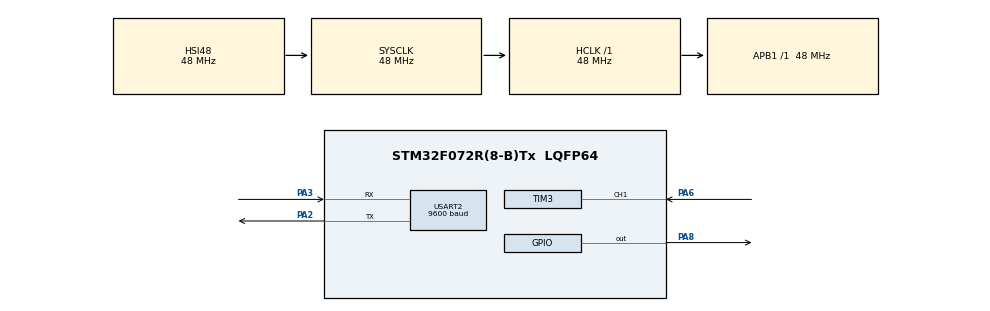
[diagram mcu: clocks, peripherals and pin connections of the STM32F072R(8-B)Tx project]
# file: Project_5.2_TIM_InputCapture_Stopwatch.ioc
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Mcu.Family=STM32F0
Mcu.Name=STM32F072R(8-B)Tx
Mcu.Package=LQFP64
NVIC.TIM3_IRQn=true\:0\:0\:false\:false\:true\:true\:true\:true
PA2.Mode=Asynchronous
PA2.Signal=USART2_TX
PA3.Mode=Asynchronous
PA3.Signal=USART2_RX
PA6.Signal=S_TIM3_CH1
PA8.Signal=GPIO_Output
PF0-OSC_IN.Mode=HSE-External-Oscillator
PF0-OSC_IN.Signal=RCC_OSC_IN
PF1-OSC_OUT.Mode=HSE-External-Oscillator
PF1-OSC_OUT.Signal=RCC_OSC_OUT
ProjectManager.HeapSize=0x200
ProjectManager.StackSize=0x400
ProjectManager.TargetToolchain=STM32CubeIDE
RCC.AHBFreq_Value=48000000
RCC.APB1Freq_Value=48000000
RCC.APB1TimFreq_Value=48000000
RCC.HCLKFreq_Value=48000000
RCC.SYSCLKFreq_VALUE=48000000
RCC.SYSCLKSource=RCC_SYSCLKSOURCE_HSI48
SH.S_TIM3_CH1.0=TIM3_CH1,Input_Capture1_from_TI1
TIM3.AutoReloadPreload=TIM_AUTORELOAD_PRELOAD_ENABLE
TIM3.Channel-Input_Capture1_from_TI1=TIM_CHANNEL_1
TIM3.ICFilter_CH1=15
TIM3.Period=48000
TIM3.Prescaler=1000
USART2.BaudRate=9600
USART2.VirtualMode-Asynchronous=VM_ASYNC
VP_TIM3_VS_ClockSourceINT.Mode=Internal
board=custom

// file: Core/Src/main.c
/* USER CODE BEGIN Header */
/**
  ******************************************************************************
  * @file           : main.c
  * @brief          : Main program body
  ******************************************************************************
  * @attention
  *
  * Copyright (c) 2023 STMicroelectronics.
  * All rights reserved.
  *
  * This software is licensed under terms that can be found in the LICENSE file
  * in the root directory of this software component.
  * If no LICENSE file comes with this software, it is provided AS-IS.
  *
  ******************************************************************************
  */
/* USER CODE END Header */
#include "main.h"

/* USER CODE BEGIN PD */
#define IDLE   0
#define DONE   1

volatile uint8_t State = IDLE;
volatile uint8_t MSG[100] = {'\0'};
volatile uint8_t i_MSG[50] = {'\0'};
volatile uint8_t msg[100] = {"Stopwatch started\n\n\n"};
volatile uint32_t first_cptr_vrbl = 0;
volatile uint32_t last_cptr_vrbl = 0;
volatile uint32_t total_second = 0;
volatile uint16_t overflow = 0;
volatile uint8_t ticks = IDLE;
volatile uint8_t flag = IDLE;
volatile uint8_t second = 0;
volatile uint8_t minute = 0;
volatile uint8_t hours = 0;
/* USER CODE END PD */

TIM_HandleTypeDef htim3;

UART_HandleTypeDef huart2;

void SystemClock_Config(void);
static void MX_GPIO_Init(void);
static void MX_TIM3_Init(void);
static void MX_USART2_UART_Init(void);

/* USER CODE BEGIN 0 */
void instantClock(void){
	last_cptr_vrbl = TIM3->CCR1;
	total_second = ((last_cptr_vrbl + (overflow * 48000)) - first_cptr_vrbl) / 48000;

	minute = (total_second/60);
	hours  = minute / 60;

	second = total_second - minute*60;
	minute = minute - hours*60;

}

void HAL_TIM_IC_CaptureCallback(TIM_HandleTypeDef *htim) {

	HAL_GPIO_TogglePin(GPIOA, GPIO_PIN_8);

	switch (ticks){
	case IDLE:
		HAL_UART_Transmit(&huart2, msg, sizeof(msg), 100);
		first_cptr_vrbl = TIM3->CCR1;
		overflow = 0;
		ticks = DONE;
		flag=DONE;
		break;
	case DONE:
		flag = IDLE;
		instantClock();
		if (total_second != 0) {

			sprintf(MSG, "Stopwatch ended\n\Passing time = %lu:%lu:%lu\n\n\n\r", hours,minute,second);
			HAL_UART_Transmit(&huart2, MSG, sizeof(MSG), 100);
		}
		first_cptr_vrbl = 0;
		last_cptr_vrbl = 0;
		ticks = IDLE;
		break;

	}

}

void HAL_TIM_PeriodElapsedCallback(TIM_HandleTypeDef *htim) {

	instantClock();
	 if(flag == DONE){
				sprintf(i_MSG, "*** %lu:%lu:%lu ***\n\r", hours,minute,second);
				HAL_UART_Transmit(&huart2, i_MSG, sizeof(i_MSG), 100);}
	 overflow++;
}

/* USER CODE END 0 */

int main(void)
{

  /* MCU Configuration--------------------------------------------------------*/

  /* Reset of all peripherals, Initializes the Flash interface and the Systick. */
  HAL_Init();

  /* Configure the system clock */
  SystemClock_Config();

  /* Initialize all configured peripherals */
  MX_GPIO_Init();
  MX_TIM3_Init();
  MX_USART2_UART_Init();
  /* USER CODE BEGIN 2 */
  HAL_TIM_Base_Start_IT(&htim3);
  HAL_TIM_IC_Start_IT(&htim3, TIM_CHANNEL_1);
  HAL_GPIO_WritePin(GPIOA, GPIO_PIN_8, GPIO_PIN_SET);
  /* USER CODE END 2 */

  /* Infinite loop */
  while (1)
  {

  }
}

void SystemClock_Config(void)
{
  RCC_OscInitTypeDef RCC_OscInitStruct = {0};
  RCC_ClkInitTypeDef RCC_ClkInitStruct = {0};
  RCC_PeriphCLKInitTypeDef PeriphClkInit = {0};

  /** Initializes the RCC Oscillators according to the specified parameters
  * in the RCC_OscInitTypeDef structure.
  */
  RCC_OscInitStruct.OscillatorType = RCC_OSCILLATORTYPE_HSI48;
  RCC_OscInitStruct.HSI48State = RCC_HSI48_ON;
  RCC_OscInitStruct.PLL.PLLState = RCC_PLL_NONE;
  if (HAL_RCC_OscConfig(&RCC_OscInitStruct) != HAL_OK)
  {
    Error_Handler();
  }

  /** Initializes the CPU, AHB and APB buses clocks
  */
  RCC_ClkInitStruct.ClockType = RCC_CLOCKTYPE_HCLK|RCC_CLOCKTYPE_SYSCLK
                              |RCC_CLOCKTYPE_PCLK1;
  RCC_ClkInitStruct.SYSCLKSource = RCC_SYSCLKSOURCE_HSI48;
  RCC_ClkInitStruct.AHBCLKDivider = RCC_SYSCLK_DIV1;
  RCC_ClkInitStruct.APB1CLKDivider = RCC_HCLK_DIV1;

  if (HAL_RCC_ClockConfig(&RCC_ClkInitStruct, FLASH_LATENCY_1) != HAL_OK)
  {
    Error_Handler();
  }
  PeriphClkInit.PeriphClockSelection = RCC_PERIPHCLK_USART2;
  PeriphClkInit.Usart2ClockSelection = RCC_USART2CLKSOURCE_PCLK1;
  if (HAL_RCCEx_PeriphCLKConfig(&PeriphClkInit) != HAL_OK)
  {
    Error_Handler();
  }
}

static void MX_TIM3_Init(void)
{

  TIM_ClockConfigTypeDef sClockSourceConfig = {0};
  TIM_MasterConfigTypeDef sMasterConfig = {0};
  TIM_IC_InitTypeDef sConfigIC = {0};

  htim3.Instance = TIM3;
  htim3.Init.Prescaler = 1000;
  htim3.Init.CounterMode = TIM_COUNTERMODE_UP;
  htim3.Init.Period = 48000;
  htim3.Init.ClockDivision = TIM_CLOCKDIVISION_DIV1;
  htim3.Init.AutoReloadPreload = TIM_AUTORELOAD_PRELOAD_ENABLE;
  if (HAL_TIM_Base_Init(&htim3) != HAL_OK)
  {
    Error_Handler();
  }
  sClockSourceConfig.ClockSource = TIM_CLOCKSOURCE_INTERNAL;
  if (HAL_TIM_ConfigClockSource(&htim3, &sClockSourceConfig) != HAL_OK)
  {
    Error_Handler();
  }
  if (HAL_TIM_IC_Init(&htim3) != HAL_OK)
  {
    Error_Handler();
  }
  sMasterConfig.MasterOutputTrigger = TIM_TRGO_RESET;
  sMasterConfig.MasterSlaveMode = TIM_MASTERSLAVEMODE_DISABLE;
  if (HAL_TIMEx_MasterConfigSynchronization(&htim3, &sMasterConfig) != HAL_OK)
  {
    Error_Handler();
  }
  sConfigIC.ICPolarity = TIM_INPUTCHANNELPOLARITY_RISING;
  sConfigIC.ICSelection = TIM_ICSELECTION_DIRECTTI;
  sConfigIC.ICPrescaler = TIM_ICPSC_DIV1;
  sConfigIC.ICFilter = 15;
  if (HAL_TIM_IC_ConfigChannel(&htim3, &sConfigIC, TIM_CHANNEL_1) != HAL_OK)
  {
    Error_Handler();
  }

}

static void MX_USART2_UART_Init(void)
{

  huart2.Instance = USART2;
  huart2.Init.BaudRate = 9600;
  huart2.Init.WordLength = UART_WORDLENGTH_8B;
  huart2.Init.StopBits = UART_STOPBITS_1;
  huart2.Init.Parity = UART_PARITY_NONE;
  huart2.Init.Mode = UART_MODE_TX_RX;
  huart2.Init.HwFlowCtl = UART_HWCONTROL_NONE;
  huart2.Init.OverSampling = UART_OVERSAMPLING_16;
  huart2.Init.OneBitSampling = UART_ONE_BIT_SAMPLE_DISABLE;
  huart2.AdvancedInit.AdvFeatureInit = UART_ADVFEATURE_NO_INIT;
  if (HAL_UART_Init(&huart2) != HAL_OK)
  {
    Error_Handler();
  }

}

static void MX_GPIO_Init(void)
{
  GPIO_InitTypeDef GPIO_InitStruct = {0};

  /* GPIO Ports Clock Enable */
  __HAL_RCC_GPIOF_CLK_ENABLE();
  __HAL_RCC_GPIOA_CLK_ENABLE();

  /*Configure GPIO pin Output Level */
  HAL_GPIO_WritePin(GPIOA, GPIO_PIN_8, GPIO_PIN_RESET);

  /*Configure GPIO pin : PA8 */
  GPIO_InitStruct.Pin = GPIO_PIN_8;
  GPIO_InitStruct.Mode = GPIO_MODE_OUTPUT_PP;
  GPIO_InitStruct.Pull = GPIO_NOPULL;
  GPIO_InitStruct.Speed = GPIO_SPEED_FREQ_LOW;
  HAL_GPIO_Init(GPIOA, &GPIO_InitStruct);

}

void Error_Handler(void)
{
  __disable_irq();
  while (1)
  {
  }
}
